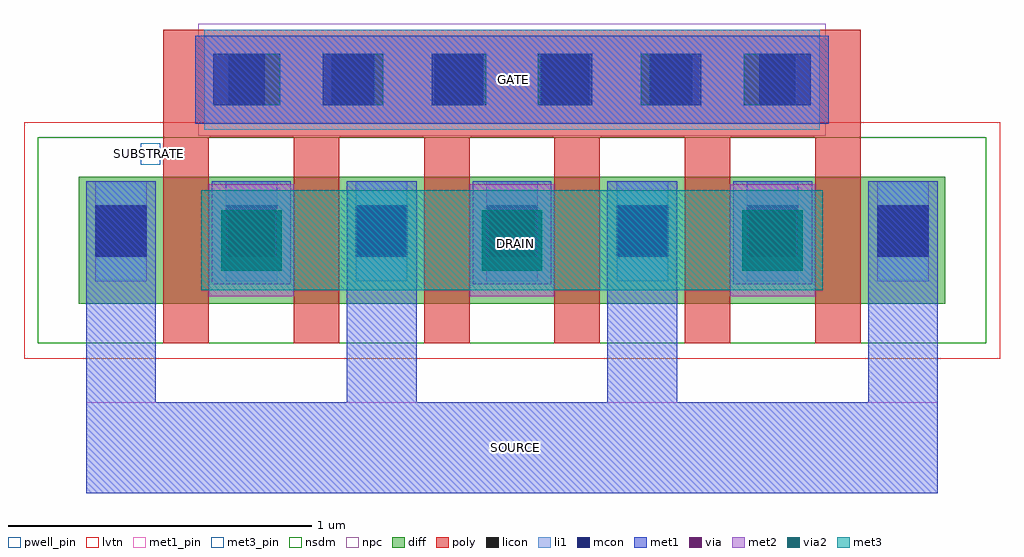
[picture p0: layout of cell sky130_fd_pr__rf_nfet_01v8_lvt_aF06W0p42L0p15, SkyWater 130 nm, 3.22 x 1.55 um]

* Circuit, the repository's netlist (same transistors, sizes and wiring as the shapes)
* Copyright 2020 The SkyWater PDK Authors
*
* Licensed under the Apache License, Version 2.0 (the "License");
* you may not use this file except in compliance with the License.
* You may obtain a copy of the License at
*
*     https://www.apache.org/licenses/LICENSE-2.0
*
* Unless required by applicable law or agreed to in writing, software
* distributed under the License is distributed on an "AS IS" BASIS,
* WITHOUT WARRANTIES OR CONDITIONS OF ANY KIND, either express or implied.
* See the License for the specific language governing permissions and
* limitations under the License.
*
* SPDX-License-Identifier: Apache-2.0


.subckt sky130_fd_pr__rf_nfet_01v8_lvt_aF06W0p42L0p15 DRAIN GATE SOURCE SUBSTRATE
X0 SOURCE GATE DRAIN SUBSTRATE sky130_fd_pr__nfet_01v8_lvt w=420000u l=150000u
X1 DRAIN GATE SOURCE SUBSTRATE sky130_fd_pr__nfet_01v8_lvt w=420000u l=150000u
X2 DRAIN GATE SOURCE SUBSTRATE sky130_fd_pr__nfet_01v8_lvt w=420000u l=150000u
X3 DRAIN GATE SOURCE SUBSTRATE sky130_fd_pr__nfet_01v8_lvt w=420000u l=150000u
X4 SOURCE GATE DRAIN SUBSTRATE sky130_fd_pr__nfet_01v8_lvt w=420000u l=150000u
X5 SOURCE GATE DRAIN SUBSTRATE sky130_fd_pr__nfet_01v8_lvt w=420000u l=150000u
.ends

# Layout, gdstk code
import gdstk
lib = gdstk.Library(unit=1e-6, precision=1e-09)
def R(c, l, rs):  # rectangles x0, y0, x1, y1
    for r in rs: c.add(gdstk.rectangle(r[:2], r[2:], *l))
def A(c, l, x, y, w, h, nx, ny, dx, dy):  # array of equal rectangles
    R(c, l, [(x+i*dx, y+j*dy, x+i*dx+w, y+j*dy+h) for i in range(nx) for j in range(ny)])
diff = (65, 20)
poly = (66, 20)
licon = (66, 44)
li1 = (67, 20)
mcon = (67, 44)
met1_pin = (68, 16)
met1 = (68, 20)
via = (68, 44)
met2 = (69, 20)
via2 = (69, 44)
met3_pin = (70, 16)
met3 = (70, 20)
nsdm = (93, 44)
npc = (95, 20)
pwell_pin = (122, 16)
lvtn = (125, 44)

sky130_fd_pr__rf_nfet_01 = lib.new_cell('sky130_fd_pr__rf_nfet_01v8_lvt_aF06W0p42L0p15')
A(sky130_fd_pr__rf_nfet_01, diff, 0.18, 0.18, 0.28, 0.42, 3, 1, 0.43, 0)
A(sky130_fd_pr__rf_nfet_01, diff, 0.21, 0.18, 0.25, 0.42, 4, 1, 0.86, 0)
A(sky130_fd_pr__rf_nfet_01, diff, 0.46, 0.18, 0.15, 0.42, 6, 1, 0.43, 0)
A(sky130_fd_pr__rf_nfet_01, diff, 1.04, 0.18, 0.28, 0.42, 3, 1, 0.43, 0)
A(sky130_fd_pr__rf_nfet_01, diff, 1.9, 0.18, 0.28, 0.42, 3, 1, 0.43, 0)
R(sky130_fd_pr__rf_nfet_01, diff, [(2.76,0.18,3.04,0.6)])
A(sky130_fd_pr__rf_nfet_01, poly, 0.46, 0.05, 0.15, 0.68, 6, 1, 0.43, 0)
A(sky130_fd_pr__rf_nfet_01, poly, 0.46, 0.05, 0.15, 0.13, 6, 2, 0.43, 0.55)
R(sky130_fd_pr__rf_nfet_01, poly, [(0.46,0.73,2.76,1.085), (0.595,0.755,2.625,1.085)])
A(sky130_fd_pr__rf_nfet_01, licon, 0.235, 0.335, 0.17, 0.17, 7, 1, 0.43, 0)
A(sky130_fd_pr__rf_nfet_01, licon, 0.675, 0.835, 0.17, 0.17, 6, 1, 0.34, 0)
A(sky130_fd_pr__rf_nfet_01, li1, 0.235, 0.255, 0.17, 0.33, 7, 1, 0.43, 0)
R(sky130_fd_pr__rf_nfet_01, li1, [(0.595,0.755,2.625,1.085), (0.625,0.835,2.595,1.005)])
A(sky130_fd_pr__rf_nfet_01, mcon, 0.235, 0.335, 0.17, 0.17, 7, 1, 0.43, 0)
A(sky130_fd_pr__rf_nfet_01, mcon, 0.625, 0.835, 0.17, 0.17, 6, 1, 0.36, 0)
R(sky130_fd_pr__rf_nfet_01, met1_pin, [(0.205,-0.445,3.015,-0.145), (0.565,0.775,2.655,1.065)])
R(sky130_fd_pr__rf_nfet_01, met1, [(0.565,0.775,2.655,1.065)])
A(sky130_fd_pr__rf_nfet_01, via, 0.675, 0.335, 0.15, 0.15, 3, 1, 0.86, 0)
A(sky130_fd_pr__rf_nfet_01, met2, 0.61, 0.205, 0.28, 0.37, 3, 1, 0.86, 0)
A(sky130_fd_pr__rf_nfet_01, via2, 0.65, 0.29, 0.2, 0.2, 3, 1, 0.86, 0)
R(sky130_fd_pr__rf_nfet_01, met3_pin, [(0.585,0.225,2.635,0.555)])
A(sky130_fd_pr__rf_nfet_01, nsdm, 0.21, 0.05, 0.4, 0.68, 6, 1, 0.43, 0)
A(sky130_fd_pr__rf_nfet_01, nsdm, 0.48, 0.05, 0.54, 0.68, 5, 1, 0.43, 0)
R(sky130_fd_pr__rf_nfet_01, nsdm, [(0.045,0.05,0.59,0.73), (2.63,0.05,3.175,0.73)])
R(sky130_fd_pr__rf_nfet_01, npc, [(0.575,0.735,2.645,1.105)])
R(sky130_fd_pr__rf_nfet_01, pwell_pin, [(0.385,0.64,0.45,0.71)])
R(sky130_fd_pr__rf_nfet_01, lvtn, [(0,0,3.22,0.78)])
sky130_fd_pr__rf_nfet_01.add(gdstk.FlexPath([(0.585,0.39),(2.635,0.39)], 0.33, ends="flush", simple_path=True, layer=70, datatype=20))  # met3
sky130_fd_pr__rf_nfet_01.add(gdstk.FlexPath([(2.9,0.585),(2.9,-0.445)], 0.23, ends="flush", simple_path=True, layer=68, datatype=20))  # met1
sky130_fd_pr__rf_nfet_01.add(gdstk.FlexPath([(2.04,0.585),(2.04,-0.445)], 0.23, ends="flush", simple_path=True, layer=68, datatype=20))  # met1
sky130_fd_pr__rf_nfet_01.add(gdstk.FlexPath([(0.205,-0.295),(3.015,-0.295)], 0.3, ends="flush", simple_path=True, layer=68, datatype=20))  # met1
sky130_fd_pr__rf_nfet_01.add(gdstk.FlexPath([(1.18,0.585),(1.18,-0.445)], 0.23, ends="flush", simple_path=True, layer=68, datatype=20))  # met1
sky130_fd_pr__rf_nfet_01.add(gdstk.FlexPath([(2.47,0.585),(2.47,0.245)], 0.26, ends="flush", simple_path=True, layer=68, datatype=20))  # met1
sky130_fd_pr__rf_nfet_01.add(gdstk.FlexPath([(1.61,0.585),(1.61,0.245)], 0.26, ends="flush", simple_path=True, layer=68, datatype=20))  # met1
sky130_fd_pr__rf_nfet_01.add(gdstk.FlexPath([(0.75,0.585),(0.75,0.245)], 0.26, ends="flush", simple_path=True, layer=68, datatype=20))  # met1
sky130_fd_pr__rf_nfet_01.add(gdstk.FlexPath([(0.32,0.585),(0.32,-0.445)], 0.23, ends="flush", simple_path=True, layer=68, datatype=20))  # met1
sky130_fd_pr__rf_nfet_01.add(gdstk.Label('DRAIN', (1.62,0.38), layer=70, texttype=16))
sky130_fd_pr__rf_nfet_01.add(gdstk.Label('SOURCE', (1.62,-0.295), layer=68, texttype=16))
sky130_fd_pr__rf_nfet_01.add(gdstk.Label('GATE', (1.615,0.92), layer=68, texttype=16))
sky130_fd_pr__rf_nfet_01.add(gdstk.Label('SUBSTRATE', (0.415,0.675), layer=64, texttype=59))

lib.write_gds('sky130_fd_pr__rf_nfet_01v8_lvt_aF06W0p42L0p15.gds')
